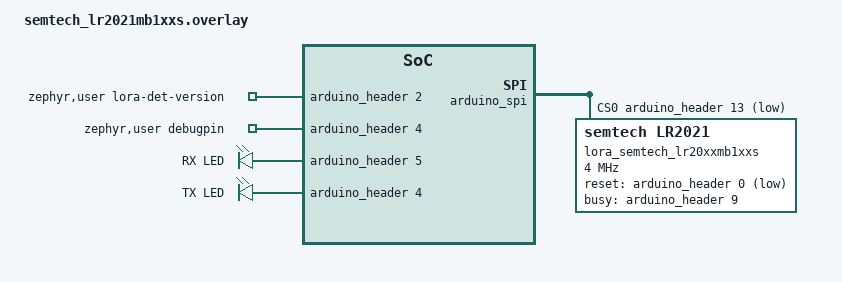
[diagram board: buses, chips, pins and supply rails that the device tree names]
/*
 * Copyright (c) 2025 Semtech Corporation
 *
 * SPDX-License-Identifier: Apache-2.0
 */

#include <zephyr/dt-bindings/usp/lr20xx.h>
 
 / {
	chosen {
		zephyr,lorawan-transceiver = &lora_semtech_lr20xxmb1xxs;
	};
	aliases {
		lora-transceiver = &lora_semtech_lr20xxmb1xxs;
	};
	zephyr,user {
		lora-det-version-gpios = <&arduino_header 2 GPIO_ACTIVE_HIGH>;
		debugpin-gpios = <&arduino_header 4 GPIO_ACTIVE_HIGH>;
	};
	leds {
		lora_rx_led: lr20xx_rx_led {
			gpios = <&arduino_header 5 GPIO_ACTIVE_HIGH>;
			label = "RX LED";
		};
		lora_tx_led: lr20xx_tx_led {
			gpios = <&arduino_header 4 GPIO_ACTIVE_HIGH>;
			label = "TX LED";
		};
	};
};

&arduino_spi {
	overrun-character = <0>; //Defines state of MOSI when SPI RX

	cs-gpios = <&arduino_header 13 GPIO_ACTIVE_LOW>; //D7

	lora_semtech_lr20xxmb1xxs: lora@0 {
        compatible = "semtech,lr2021";
		reg = <0>;

        // General shield configuration
		tx-power-offset = <0>; // Board-specific TX offset in dB (int)

        // I/O config
		spi-max-frequency = <DT_FREQ_M(4)>;
		reset-gpios = <&arduino_header 0 GPIO_ACTIVE_LOW>; //A0
		busy-gpios = <&arduino_header 9 (GPIO_ACTIVE_HIGH | GPIO_PULL_UP)>; //D3

		lr20xx_dios: dios {
			compatible = "semtech,lr20xx-dios";
			#address-cells = <1>;
			#size-cells = <0>;
			//There is no RF switch in Semtech LR20xx shield, so there is no need to configure DIO5/6 as such.
			// dio8: dio@8 {
				//     reg = <8>;
				//     function = <LR20XX_SYSTEM_DIO_FUNC_IRQ>;
				//     irq-mask = <(LR20XX_SYSTEM_IRQ_TX_DONE | LR20XX_SYSTEM_IRQ_TIMEOUT)>;
				//     dio-gpios = <&arduino_header 1 (GPIO_ACTIVE_HIGH | GPIO_PULL_DOWN)>;
			// };
			dio9: dio@9 {
				reg = <9>;
				function = <LR20XX_SYSTEM_DIO_FUNC_IRQ>;
				irq-mask = <LR20XX_SYSTEM_IRQ_ALL_MASK>;
				dio-gpios = <&arduino_header 11 (GPIO_ACTIVE_HIGH | GPIO_PULL_DOWN)>;
			};
			//DIO7, DIO10 and DIO11 are also output on arduino_connector (respectively on A3 (pin 3), D4 (pin 10) and D8 (pin 14))
		};

        // Radio config
        reg-mode = <LR20XX_REG_MODE_DCDC>;
        lf-clk = <LR20XX_SYSTEM_LFCLK_RC>;
        tcxo-voltage = <LR20XX_SYSTEM_TCXO_CTRL_1_8V>;
        tcxo-wakeup-time = <0>;
        rx-boost-cfg = <0>; // RX boost offset, from 0 (no RX boost) to 7 (max RX boost)

        tx-power-cfg-lf =
        /* half_power, pa_lf_duty_cycle, pa_lf_slices */
        <(-18) 0x03 0x06>, /* Expected output power = -10dBm */
        <(-13) 0x02 0x05>, /* Expected output power = -9dBm */
        <(-13) 0x06 0x01>, /* Expected output power = -8dBm */
        <( -6) 0x06 0x00>, /* Expected output power = -7dBm */
        <(  4) 0x01 0x00>, /* Expected output power = -6dBm */
        <(  4) 0x02 0x00>, /* Expected output power = -5dBm */
        <(  2) 0x01 0x03>, /* Expected output power = -4dBm */
        <( 14) 0x00 0x00>, /* Expected output power = -3dBm */
        <(  9) 0x00 0x03>, /* Expected output power = -2dBm */
        <( 11) 0x03 0x00>, /* Expected output power = -1dBm */
        <( 16) 0x01 0x00>, /* Expected output power = 0dBm */
        <( 11) 0x07 0x00>, /* Expected output power = 1dBm */
        <( 18) 0x02 0x00>, /* Expected output power = 2dBm */
        <( 16) 0x05 0x00>, /* Expected output power = 3dBm */
        <( 17) 0x07 0x00>, /* Expected output power = 4dBm */
        <( 21) 0x01 0x02>, /* Expected output power = 5dBm */
        <( 25) 0x03 0x00>, /* Expected output power = 6dBm */
        <( 32) 0x00 0x01>, /* Expected output power = 7dBm */
        <( 32) 0x02 0x00>, /* Expected output power = 8dBm */
        <( 27) 0x03 0x01>, /* Expected output power = 9dBm */
        <( 32) 0x02 0x01>, /* Expected output power = 10dBm */
        <( 28) 0x05 0x01>, /* Expected output power = 11dBm */
        <( 30) 0x05 0x01>, /* Expected output power = 12dBm */
        <( 34) 0x04 0x01>, /* Expected output power = 13dBm */
        <( 31) 0x05 0x04>, /* Expected output power = 14dBm */
        <( 34) 0x04 0x04>, /* Expected output power = 15dBm */
        <( 34) 0x05 0x06>, /* Expected output power = 16dBm */
        <( 39) 0x03 0x05>, /* Expected output power = 17dBm */
        <( 37) 0x06 0x06>, /* Expected output power = 18dBm */
        <( 40) 0x05 0x05>, /* Expected output power = 19dBm */
        <( 41) 0x07 0x04>, /* Expected output power = 20dBm */
        <( 43) 0x07 0x04>, /* Expected output power = 21dBm */
        <( 44) 0x07 0x07>; /* Expected output power = 22dBm */


        tx-power-cfg-hf =
        /* half_power, pa_duty_cycle, pa_hp_sel */
        <(-39) 29   0x07>, /* Expected output power = -17dBm */
        <(-39) 16   0x07>, /* Expected output power = -16dBm */
        <(-35) 19   0x07>, /* Expected output power = -15dBm */
        <(-32) 19   0x07>, /* Expected output power = -14dBm */
        <(-29) 19   0x07>, /* Expected output power = -13dBm */
        <(-27) 16   0x07>, /* Expected output power = -12dBm */
        <(-24) 17   0x07>, /* Expected output power = -11dBm */
        <(-22) 16   0x07>, /* Expected output power = -10dBm */
        <(-19) 18   0x07>, /* Expected output power = -9dBm */
        <(-17) 16   0x07>, /* Expected output power = -8dBm */
        <(-14) 21   0x07>, /* Expected output power = -7dBm */
        <(-12) 18   0x07>, /* Expected output power = -6dBm */
        <( -7) 30   0x07>, /* Expected output power = -5dBm */
        <( -8) 16   0x07>, /* Expected output power = -4dBm */
        <( -5) 24   0x07>, /* Expected output power = -3dBm */
        <( -2) 27   0x07>, /* Expected output power = -2dBm */
        <(  1) 29   0x07>, /* Expected output power = -1dBm */
        <(  4) 30   0x07>, /* Expected output power = 0dBm */
        <(  6) 30   0x07>, /* Expected output power = 1dBm */
        <(  7) 28   0x07>, /* Expected output power = 2dBm */
        <(  8) 25   0x07>, /* Expected output power = 3dBm */
        <( 10) 25   0x07>, /* Expected output power = 4dBm */
        <( 15) 31   0x07>, /* Expected output power = 5dBm */
        <( 16) 30   0x07>, /* Expected output power = 6dBm */
        <( 18) 30   0x07>, /* Expected output power = 7dBm */
        <( 21) 31   0x07>, /* Expected output power = 8dBm */
        <( 22) 30   0x07>, /* Expected output power = 9dBm */
        <( 24) 30   0x07>, /* Expected output power = 10dBm */
        <( 24) 26   0x07>, /* Expected output power = 11dBm */
        <( 24) 16   0x07>; /* Expected output power = 12dBm */

        //Power consumptions
        tx-dbm-to-ua-reg-mode-dcdc-lf-vreg = <
        10400   /* -10 dBm */
        10100   /*  -9 dBm */
        9000    /*  -8 dBm */
        9000    /*  -7 dBm */
        8400    /*  -6 dBm */
        8700    /*  -5 dBm */
        10100   /*  -4 dBm */
        9200    /*  -3 dBm */
        10600   /*  -2 dBm */
        10000   /*  -1 dBm */
        10000   /*   0 dBm */
        12100   /*   1 dBm */
        10900   /*   2 dBm */
        12000   /*   3 dBm */
        13100   /*   4 dBm */
        13300   /*   5 dBm */
        13400   /*   6 dBm */
        14600   /*   7 dBm */
        15300   /*   8 dBm */
        16800   /*   9 dBm */
        18100   /*  10 dBm */
        20200   /*  11 dBm */
        21900   /*  12 dBm */
        25600   /*  13 dBm */
        28300   /*  14 dBm */
        32200   /*  15 dBm */
        37600   /*  16 dBm */
        46000   /*  17 dBm */
        51800   /*  18 dBm */
        61300   /*  19 dBm */
        74100   /*  20 dBm */
        89400   /*  21 dBm */
        108200  /*  22 dBm */
        >;

        tx-dbm-to-ua-reg-mode-ldo-lf-vreg = <
        1000  /* -10 dBm */
        1000  /*  -9 dBm */
        1000  /*  -8 dBm */
        1000  /*  -7 dBm */
        1000  /*  -6 dBm */
        1000  /*  -5 dBm */
        1000  /*  -4 dBm */
        1000  /*  -3 dBm */
        1000  /*  -2 dBm */
        1000  /*  -1 dBm */
        1000  /*   0 dBm */
        1000  /*   1 dBm */
        1000  /*   2 dBm */
        1000  /*   3 dBm */
        1000  /*   4 dBm */
        1000  /*   5 dBm */
        1000  /*   6 dBm */
        1000  /*   7 dBm */
        1000  /*   8 dBm */
        1000  /*   9 dBm */
        1000  /*  10 dBm */
        1000  /*  11 dBm */
        1000  /*  12 dBm */
        1000  /*  13 dBm */
        1000  /*  14 dBm */
        1000  /*  15 dBm */
        1000  /*  16 dBm */
        1000  /*  17 dBm */
        1000  /*  18 dBm */
        1000  /*  19 dBm */
        1000  /*  20 dBm */
        1000  /*  21 dBm */
        1000  /*  22 dBm */
        >;

        tx-dbm-to-ua-reg-mode-dcdc-hf-vreg = <
        8625  /* -17 dBm */
        8783  /* -16 dBm */
        8874  /* -15 dBm */
        8998  /* -14 dBm */
        9145  /* -13 dBm */
        9289  /* -12 dBm */
        9481  /* -11 dBm */
        9646  /* -10 dBm */
        9840  /* -9 dBm */
        10073 /* -8 dBm */
        10280 /* -7 dBm */
        10597 /* -6 dBm */
        10511 /* -5 dBm */
        11200 /* -4 dBm */
        11391 /* -3 dBm */
        11630 /* -2 dBm */
        11360 /* -1 dBm */
        11635 /*  0 dBm */
        11986 /*  1 dBm */
        12670 /*  2 dBm */
        13292 /*  3 dBm */
        13859 /*  4 dBm */
        13685 /*  5 dBm */
        14629 /*  6 dBm */
        15388 /*  7 dBm */
        15804 /*  8 dBm */
        17270 /*  9 dBm */
        18943 /* 10 dBm */
        21041 /* 11 dBm */
        22524 /* 12 dBm */
        >;

        //RX LoRa tables
        rx-bw-to-ua-reg-mode-dcdc-lf-vreg = <
        5700  /* RAL_LORA_BW_125_KHZ */
        5790  /* RAL_LORA_BW_250_KHZ */
        6320  /* RAL_LORA_BW_400_KHZ */
        6140  /* RAL_LORA_BW_500_KHZ */
        6840  /* RAL_LORA_BW_800_KHZ */
        6600  /* RAL_LORA_BW_1000_KHZ */
        >;

        rx-bw-to-ua-reg-mode-dcdc-hf-vreg = <
        6400  /* RAL_LORA_BW_125_KHZ */
        6510  /* RAL_LORA_BW_250_KHZ */
        7040  /* RAL_LORA_BW_400_KHZ */
        6860  /* RAL_LORA_BW_500_KHZ */
        6880  /* RAL_LORA_BW_800_KHZ */
        7350  /* RAL_LORA_BW_1000_KHZ */
        >;

        rx-bw-to-ua-reg-mode-dcdc-lf-vreg-boosted = <
        6920  /* RAL_LORA_BW_125_KHZ */
        6990  /* RAL_LORA_BW_250_KHZ */
        7530  /* RAL_LORA_BW_400_KHZ */
        7370  /* RAL_LORA_BW_500_KHZ */
        8160  /* RAL_LORA_BW_800_KHZ */
        7820  /* RAL_LORA_BW_1000_KHZ */
        >;

        rx-bw-to-ua-reg-mode-dcdc-hf-vreg-boosted = <
        6740  /* RAL_LORA_BW_125_KHZ */
        6850  /* RAL_LORA_BW_250_KHZ */
        7130  /* RAL_LORA_BW_400_KHZ */
        7180  /* RAL_LORA_BW_500_KHZ */
        8010  /* RAL_LORA_BW_800_KHZ */
        7690  /* RAL_LORA_BW_1000_KHZ */
        >;

        rx-bw-to-ua-reg-mode-ldo-lf-vreg = <
        9420   /* RAL_LORA_BW_125_KHZ */
        9580   /* RAL_LORA_BW_250_KHZ */
        10580  /* RAL_LORA_BW_400_KHZ */
        10240  /* RAL_LORA_BW_500_KHZ */
        11770  /* RAL_LORA_BW_800_KHZ */
        11130  /* RAL_LORA_BW_1000_KHZ */
        >;

        rx-bw-to-ua-reg-mode-ldo-hf-vreg = <
        10760  /* RAL_LORA_BW_125_KHZ */
        10890  /* RAL_LORA_BW_250_KHZ */
        11870  /* RAL_LORA_BW_400_KHZ */
        11640  /* RAL_LORA_BW_500_KHZ */
        13130  /* RAL_LORA_BW_800_KHZ */
        12500  /* RAL_LORA_BW_1000_KHZ */
        >;

        rx-bw-to-ua-reg-mode-ldo-lf-vreg-boosted = <
        11670  /* RAL_LORA_BW_125_KHZ */
        11710  /* RAL_LORA_BW_250_KHZ */
        12880  /* RAL_LORA_BW_400_KHZ */
        12560  /* RAL_LORA_BW_500_KHZ */
        14090  /* RAL_LORA_BW_800_KHZ */
        13500  /* RAL_LORA_BW_1000_KHZ */
        >;

        rx-bw-to-ua-reg-mode-ldo-hf-vreg-boosted = <
        11410  /* RAL_LORA_BW_125_KHZ */
        11570  /* RAL_LORA_BW_250_KHZ */
        12590  /* RAL_LORA_BW_400_KHZ */
        12280  /* RAL_LORA_BW_500_KHZ */
        13720  /* RAL_LORA_BW_800_KHZ */
        13180  /* RAL_LORA_BW_1000_KHZ */
        >;

        calibration-freqs = <
        470000000
        897500000
        2441000000
        >;
	};
};
